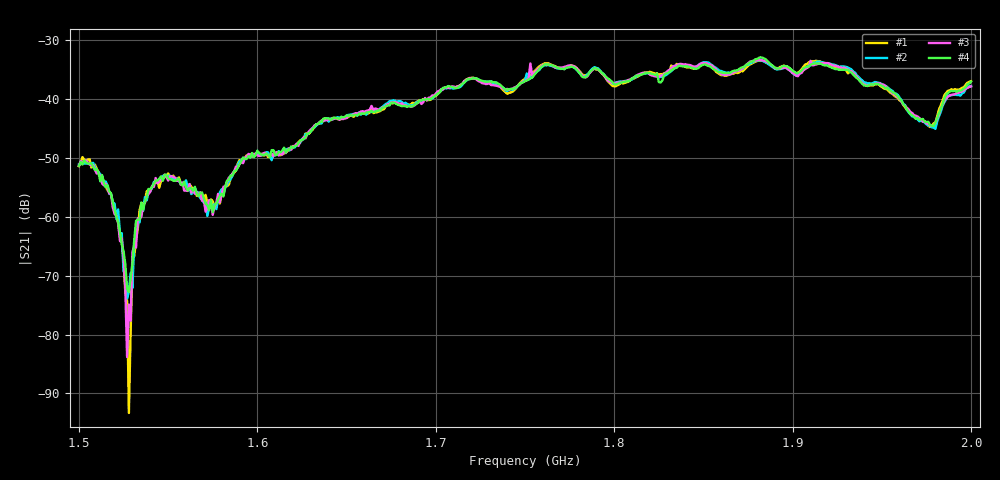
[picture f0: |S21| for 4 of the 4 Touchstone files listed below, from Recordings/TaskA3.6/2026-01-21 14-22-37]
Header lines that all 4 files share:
! NanoVNA-App by SYSJOINT et al v1.1.209 (+OD18)
! Start: 1,5GHz Stop: 2GHz Points: 501
! S-Parameter data: F S11 S21 S12 S22
# Hz S RI R 50
!  Frequency  S11_Real  S11_Imag  S21_Real  S21_Imag  S12_Real  S12_Imag  S22_Real  S22_Imag
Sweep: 1.5 GHz to 2 GHz
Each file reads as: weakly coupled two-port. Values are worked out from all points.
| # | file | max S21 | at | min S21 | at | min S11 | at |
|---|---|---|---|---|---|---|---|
| 1 | 0.s2p | -33.45 dB | 1.881 GHz | -93.3 dB | 1.528 GHz | -29.5 dB | 1.816 GHz |
| 2 | 1.s2p | -33.38 dB | 1.882 GHz | -73.9 dB | 1.527 GHz | -29.5 dB | 1.816 GHz |
| 3 | 2.s2p | -33.31 dB | 1.882 GHz | -83.8 dB | 1.527 GHz | -29.7 dB | 1.816 GHz |
| 4 | 3.s2p | -32.87 dB | 1.882 GHz | -72.8 dB | 1.528 GHz | -30.1 dB | 1.816 GHz |
